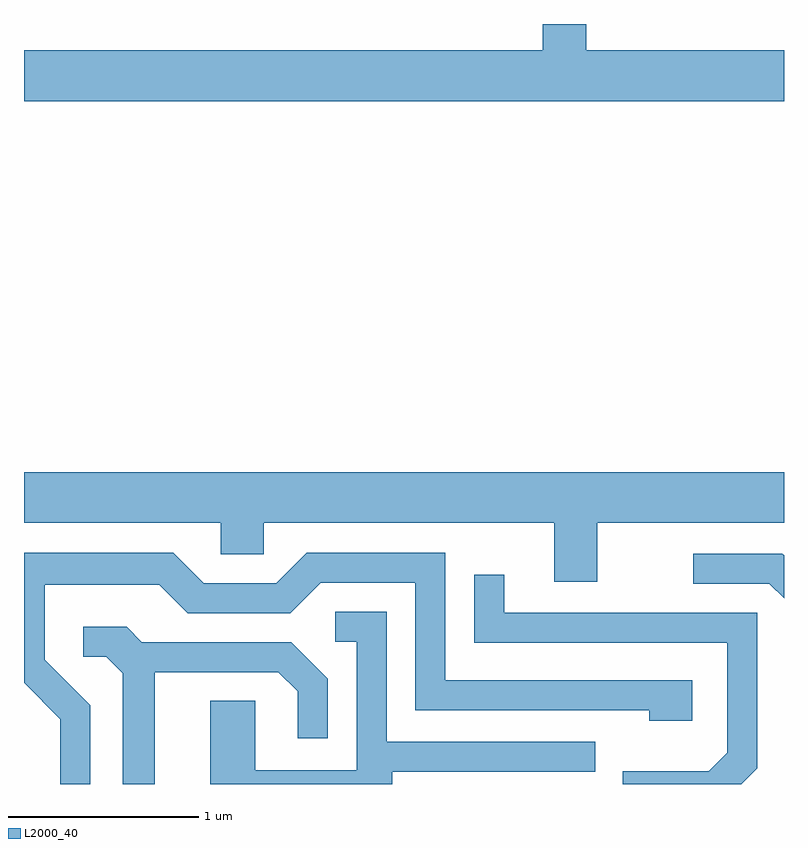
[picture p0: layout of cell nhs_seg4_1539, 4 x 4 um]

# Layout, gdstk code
import gdstk
lib = gdstk.Library(unit=1e-6, precision=1e-09)
def P(c, l, *ps):  # polygons
    for p in ps: c.add(gdstk.Polygon(p, *l))
L2000_40 = (2000, 40)

nhs_seg4_1539 = lib.new_cell('nhs_seg4_1539')
P(nhs_seg4_1539, L2000_40, [(233.611,1343.844),(232.569,1343.844),(232.569,1343.982),(232.341,1343.982),(232.341,1343.844),(229.611,1343.844),(229.611,1343.576),(233.611,1343.576)],
  [(232.629,1341.356),(233.611,1341.356),(233.611,1341.624),(229.611,1341.624),(229.611,1341.356),(230.646,1341.356),(230.646,1341.191),(230.874,1341.191),(230.874,1341.356),(232.401,1341.356),(232.401,1341.046),(232.629,1341.046)],
  [(229.959,1340.397),(229.719,1340.637),(229.719,1341.031),(230.324,1341.031),(230.474,1340.881),(231.012,1340.881),(231.172,1341.041),(231.671,1341.041),(231.671,1340.371),(232.901,1340.371),(232.901,1340.316),(233.129,1340.316),(233.129,1340.529),(231.829,1340.529),(231.829,1341.199),(231.099,1341.199),(230.939,1341.039),(230.557,1341.039),(230.397,1341.199),(229.611,1341.199),(229.611,1340.514),(229.801,1340.324),(229.801,1339.982),(229.959,1339.982)],
  [(233.611,1341.185),(233.602,1341.194),(233.133,1341.194),(233.133,1341.036),(233.534,1341.036),(233.611,1340.959)],
  [(233.469,1340.064),(233.469,1340.884),(232.139,1340.884),(232.139,1341.083),(231.981,1341.083),(231.981,1340.726),(233.311,1340.726),(233.311,1340.147),(233.214,1340.049),(232.761,1340.049),(232.761,1339.982),(233.387,1339.982)],
  [(231.549,1340.046),(232.618,1340.046),(232.618,1340.204),(231.519,1340.204),(231.519,1340.889),(231.248,1340.889),(231.248,1340.731),(231.361,1340.731),(231.361,1340.054),(230.829,1340.054),(230.829,1340.419),(230.591,1340.419),(230.591,1339.982),(231.549,1339.982)],
  [(230.299,1340.571),(230.949,1340.571),(231.051,1340.469),(231.051,1340.223),(231.209,1340.223),(231.209,1340.537),(231.017,1340.729),(230.232,1340.729),(230.152,1340.809),(229.923,1340.809),(229.923,1340.651),(230.044,1340.651),(230.131,1340.564),(230.131,1339.982),(230.299,1339.982)])

lib.write_gds('nhs_seg4_1539.gds')
